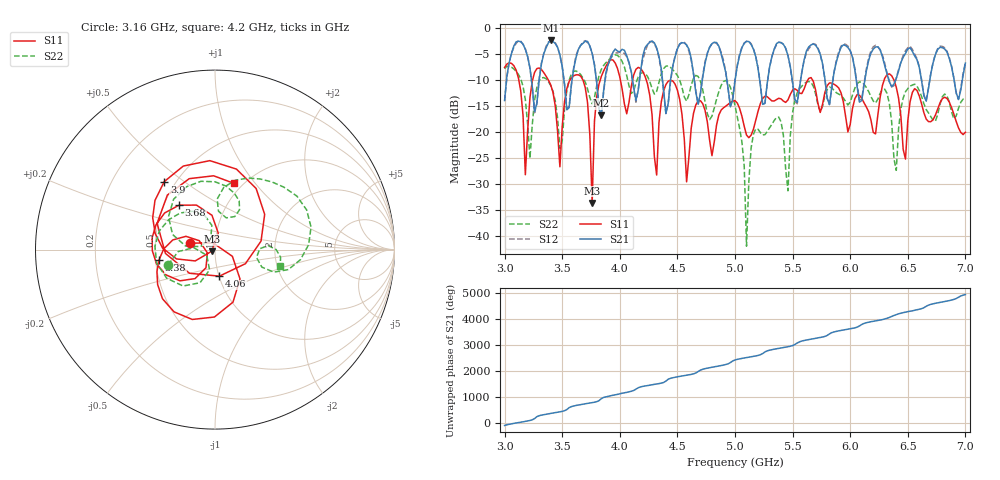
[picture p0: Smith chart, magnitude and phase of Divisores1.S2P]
! Network Analyzer HP8722D
! Hewlett-Packard
! Data name: XX
! Saver's name: Rodrigo
! Comments:
! Time and date: 25/3/2025 16:52
!  Frequency  S11  S21  S12  S22
# HZ  S  DB R 50
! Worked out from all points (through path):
!   201 points, 3 GHz to 7 GHz, reference 50 ohm
!   highest |S21| = -2.32 dB at 3.4 GHz (marker M1); lowest = -16.8 dB at 3.84 GHz (marker M2)
!   lowest |S11| = -33.7 dB at 3.76 GHz (marker M3), VSWR 1.04, Z = 48.2 - j0.88 ohm
!   |S11| at or under -10 dB: 4.441 GHz to 5.631 GHz (1.19 GHz wide, 23.6 % of centre); 5.674 GHz to 6.294 GHz (620.2 MHz wide, 10.4 % of centre); 6.381 GHz to end of sweep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
!   |S22| runs from -42.0 to -5.1 dB; largest |S21 - S12| = 1.5
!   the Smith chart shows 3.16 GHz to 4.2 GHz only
!   S11 on the Smith chart (normalised r, x): 3.16 GHz: 0.75, +0.06; 3.38 GHz: 0.52, -0.07; 3.68 GHz: 0.60, +0.33; 3.9 GHz: 0.43, +0.42; 4.06 GHz: 1.00, -0.30; 4.2 GHz: 0.91, +0.79
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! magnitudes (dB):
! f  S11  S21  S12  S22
! 3 GHz  -7.5  -13.9  -13.9  -7.8
! 3.16 GHz  -16.8  -3.0  -3.1  -11.2
! 3.22 GHz  -13.3  -7.6  -7.7  -25.1
! 3.38 GHz  -10.0  -2.8  -2.6  -10.2
! 3.4 GHz  -10.9  -2.3  -2.3  -11.0
! 3.48 GHz  -26.7  -5.1  -5.1  -23.2
! 3.68 GHz  -9.9  -2.9  -2.6  -9.6
! 3.76 GHz  -33.7  -4.8  -4.8  -14.5
! 3.84 GHz  -9.2  -16.8  -16.8  -7.9
! 3.9 GHz  -6.5  -6.9  -6.9  -6.1
! 4.06 GHz  -16.5  -5.3  -5.4  -9.1
! 4.2 GHz  -8.3  -5.2  -6.0  -8.5
! 4.34 GHz  -18.2  -5.4  -5.6  -10.4
! 5 GHz  -14.0  -10.1  -9.9  -14.9
! 5.1 GHz  -20.6  -2.5  -2.5  -42.0
! 5.16 GHz  -19.5  -4.0  -3.9  -20.4
! 5.46 GHz  -13.8  -5.3  -5.2  -31.3
! 5.68 GHz  -10.2  -3.0  -2.9  -11.2
! 6.34 GHz  -8.8  -10.3  -10.2  -14.5
! 6.4 GHz  -11.3  -9.7  -9.6  -27.4
! 6.48 GHz  -25.2  -4.8  -4.3  -12.2
! 7 GHz  -20.0  -6.7  -6.6  -13.4
